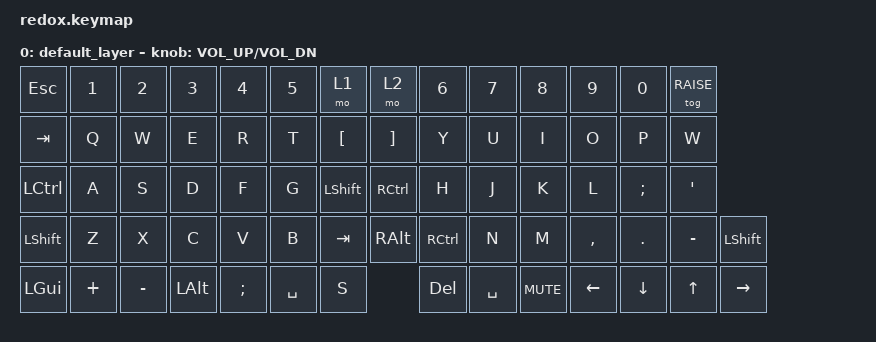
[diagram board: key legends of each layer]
/*
 * Copyright (c) 2020 The ZMK Contributors
 *
 * SPDX-License-Identifier: MIT
 */

#include <behaviors.dtsi>
#include <dt-bindings/zmk/keys.h>
#include <dt-bindings/zmk/bt.h>
#include <dt-bindings/zmk/ext_power.h> 

#define DEFAULT 0
#define NAVI    1
#define RAISE   2
{
// ----------------------------------------------------------------------------------------------------------------------------------
// |  g1  |  f1  |  e1  |  d1   |  c1   |  b1  | a1 |		|  a1  |  b1  |  c1  |  d1   |  e1   |  f1  | g1 |                 
// |  g2  |  f2  |  e2  |  d2   |  c2   |  b2  | a2 |       |  a2  |  b2  |  c2  |  d2   |  e2   |  f2  | g2 |        			  
// |  g3  |  f3  |  e3  |  d3   |  c4   |  b3  | a3 |       |  a3  |  b3  |  c3  |  d3   |  e4   |  f3  | g3 |           	        
// |  g4  |  f4  |  e4  |  d4   |  c5   |  b4  | a4 |       |  a4  |  b4  |  c4  |  d4   |  e5   |  f4  | g4 |       	      
// |  g5  |  f5  |  e5  |  d5   |  c6   |  b5  | a5 |		|  a5  |  b5  |  c5  |  d5   |  e6   |  f5  | g5 |


	keymap {
		compatible = "zmk,keymap";

		default_layer {
// ----------------------------------------------------------------------------------------------------------------------------------
// |  ESC  |  1  |  2  |  3   |  4   |  5   | MO1  |		                    | MO2 |  6   |  7    |  8    |  9   |   0   | TOG 2 |
// |  TAB  |  Q  |  W  |  E   |  R   |  T   | "["  |          			    	| MO2 |  Y   |  U    |  I    |  O   |   P   | "Å"   |
// |  CTRL |  A  |  S  |  D   |  F   |  G   | SHIFT|                	        | "]" |  H   |  J    |  K    |  L   | "Æ"   |  "Ø"  |
// | SHIFT |  Z  |  X  |  C   |  V   |  B   | TAP  |              	        	|CTRL |  N   |  M    |  ","  |  .   |   -   | SHIFT |
// | GUI   | "+" | "-" | ALT  | ";"  |SPACE | BSPC |	                        | DEL |SPACE |  MUTE |  LEFT | DOWN |  UP   | RIGHT |									
			bindings = <
&kp ESC   &kp N1 &kp N2 &kp N3   &kp N4   &kp N5 			&mo 1             			&mo 2 	  &kp N6   	&kp N7    	&kp N8    &kp N9 	&kp N0    &tog RAISE
&kp TAB   &kp Q  &kp W  &kp E    &kp R    &kp T  			&kp LBKT  					&kp RBKT  &kp Y  	&kp U    	&kp I     &kp O     &kp P     &kp W
&kp LCTRL &kp A  &kp S  &kp D    &kp F    &kp G  			&kp LSHFT  	   				&kp RCTRL &kp H  	&kp J    	&kp K     &kp L     &kp SEMI  &kp SQT
&kp LSHFT &kp Z  &kp X  &kp C    &kp V    &kp B  			&kp TAB 		  			&kp RALT  &kp RCTRL &kp N  		&kp M     &kp COMMA &kp DOT	  &kp MINUS &kp LSHFT
&kp LGUI  &kp PLUS &kp MINUS  &kp LALT &kp SEMI &kp SPACE 	&kp S						&kp DEL	  &kp SPACE	&kp K_MUTE	&kp LEFT  &kp DOWN  &kp UP	  &kp RIGHT
			>;

			sensor-bindings = <&inc_dec_kp C_VOL_UP C_VOL_DN>;
		};

		lower_layer {
// ----------------------------------------------------------------------------------------------------------------------------------	
// | BTCLR | BT1 | BT2 | BT3  | BT4  |  BT5 | 	  |	                	   |     |      |       |       |      |       |       |
// |   F1  | F2  | F3  | F4   | F5   |  F6  |     |          			   |     |  F7  |  F8   |   F9  | F10  |  F11  |  F12  |
// |   '   |  !  |  @  |  #   |  $   |   %  |     |                	 	   |     |   ^  |   &   |   *   |  (   |   )   |   ~   |
// |       |     |     |      |      |      |     |             	       |     |      |   _   |    +  |  {   |   }   |  "|"  |
// |       |     |     |      |      |      |     |             	       |     |      |       |       |      |       |       |		
&bt BT_CLR &bt BT_SEL 0  &bt BT_SEL 1 &bt BT_SEL 2  &bt BT_SEL 3 &bt BT_SEL 4 &bt BT_SEL 5          &trans   &trans    &trans    &trans   &trans   &trans   &trans
&kp F1     &kp F2   	 &kp F3 	  &kp F4   		&kp F5     	 &kp F6    	  &trans          	    &trans   &kp F7    &kp F8    &kp F9   &kp F10  &kp F11  &kp F12  
&kp GRAVE  &kp N1 	 	 &kp AT 	  &kp HASH 		&kp DOLLAR 	 &kp PRCNT    &trans         		&trans   &kp CARET &kp AMPS  &kp STAR &kp LPAR &kp RPAR &kp TILDE 
&trans     &trans   	 &trans 	  &trans   		&trans       &trans       &trans     			&trans   &trans    &kp MINUS &kp PLUS &kp LBRC &kp RBRC &kp PIPE 
&trans     &trans   	 &trans 	  &trans   		&trans     	 &trans       &trans 	 			&trans   &trans	   &trans    &trans   &trans   &trans   &trans 
			>;

			sensor-bindings = <&inc_dec_kp C_VOL_UP C_VOL_DN>;
		};

		raise_layer {
// ----------------------------------------------------------------------------------------------------------------------------------
// |       |     |     |      |      |      |     |	                	   | 	   |    6     |   7   |   8   |   9  |   0   | TOG 2 |
// |       |     |     |      |      |      |     |          			   |       | VOL_UP   |       |       |  UP  |       |       |
// |       |     |     |      |      |      |     |                	 	   |       | VOL_DN   |       |  LEFT | DOWN | RIGHT |       |
// |       |     |     |      |      |      |     |      	   			   |       |          |       |       |      |       |       |
// |       |     |     |      |      |      |     |			  		       |       |    	  |       |       |      |       |       |

&trans     &trans   &trans &trans   &trans  &trans   &trans             &trans      &trans   	 &trans   &trans   &trans 	&trans    &tog RAISE  
&trans     &trans   &trans &trans   &trans 	&trans   &trans       		&trans      &kp C_VOL_UP &trans   &trans   &kp UP   &trans    &trans
&trans     &trans   &trans &trans   &trans 	&trans   &trans      		&trans   	&kp C_VOL_DN &trans   &kp LEFT &kp DOWN &kp RIGHT &trans 
&trans     &trans   &trans &trans   &trans 	&trans   &trans    	        &trans   	&trans       &trans   &trans   &trans   &trans    &trans      
&trans     &trans   &trans &trans   &trans 	&trans   &trans       	    &trans      &trans       &trans   &trans   &trans 	&trans    &trans
			>;

			sensor-bindings = <&inc_dec_kp C_VOL_UP C_VOL_DN>;
		};
	};
};
